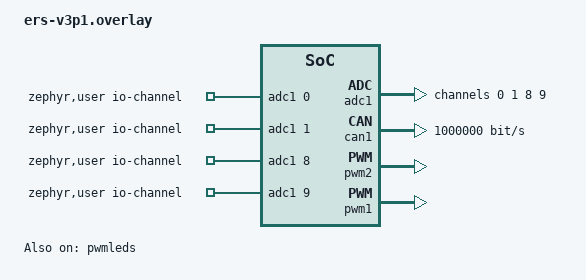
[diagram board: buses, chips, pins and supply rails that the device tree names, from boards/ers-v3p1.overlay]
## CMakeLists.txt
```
# Portland State Aerospace Society (c) 2025, 2026

cmake_minimum_required(VERSION 3.20.0)

# execute_process(
#     COMMAND git rev-parse --show-toplevel
#     OUTPUT_VARIABLE ERS_REPO_ROOT
#     OUTPUT_STRIP_TRAILING_WHITESPACE
#     COMMAND_ERROR_IS_FATAL ANY
# )

set(CONF_FILE prj.conf ers-log-levels.conf)

find_package(Zephyr REQUIRED HINTS $ENV{ZEPHYR_BASE})
project(ers_drogue_board)

target_include_directories(app PRIVATE
    include
    shell-module/include
)

target_sources(app PRIVATE
    src/adc.c
    src/arbiter.c
    src/can.c
    src/dac.c
    src/gpio-in.c
    src/keeper.c
    src/main.c
    src/motor-control.c
    src/pwm.c
    src/settings-ers.c
    src/shell-support.c
    src/status-led.c
)
```

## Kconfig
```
# Copyright (c) 2025 Portland State Aerospace Society

# ERS firmware thread stack sizes

config ADC_THREAD_STACK_SIZE
        int "ERS ADC thread stack size"
        default 512
        help
          Select stack size for ERS ADC thread

config ARBITER_THREAD_STACK_SIZE
        int "ERS arbiter thread stack size"
        default 512
        help
          Select stack size for ERS arbiter thread

config CAN_RX_THREAD_STACK_SIZE
        int "ERS CAN RX thread stack size"
        default 1536
        help
          Select stack size for ERS CAN RX thread

config GPIO_THREAD_STACK_SIZE
        int "ERS GPIO thread stack size"
        default 512
        help
          Select stack size for ERS GPIO thread

config PWM_THREAD_STACK_SIZE
        int "ERS PWM thread stack size"
        default 768
        help
          Select stack size for ERS GPIO thread

# ERS firmware thread priorities

config ADC_THREAD_PRIORITY
        int "ADC module thread priority"
        default 3
        help
          Priority of ERS thread to manage ADC channel readings.

config ARBITER_THREAD_PRIORITY
        int "ERS arbiter thread priority"
        default 5
        help
          Priority of ERS arbiter thread, which determines system readiness
          to unlock ring to release one of drogue and main parachutes.

config CAN_RX_THREAD_PRIORITY
        int "ERS CAN interface thread priority"
        default 2
        help
          Priority of CAN interface thread.

config GPIO_THREAD_PRIORITY
        int "ERS GPIO thread priority"
        default 4
        help
          Priority of thread which primarily reads I/O pins of the ERS board.

config PWM_THREAD_PRIORITY
        int "ERS PWM thread priority"
        default 6
        help
          Priority of thread to control PWM block, used to generate audible
	  tones.

# Module Zephyr logging support
module = ERS_SHELL_SUPPORT
module-str = ERS Zephyr based shell
source "subsys/logging/Kconfig.template.log_config"

# ERS module Kconfig files
rsource "Kconfig.adc"
rsource "Kconfig.arbiter"
rsource "Kconfig.can"
rsource "Kconfig.dac"
rsource "Kconfig.gpio-in"
rsource "Kconfig.keeper"
rsource "Kconfig.motor-control"
rsource "Kconfig.settings-ers"
rsource "Kconfig.status-led"
rsource "Kconfig.pwm"

# Following Kconfig inclusion needed to support Zephyr logging template macros,
# and needed for larger Zephyr code and framework support:
source "Kconfig.zephyr"
```

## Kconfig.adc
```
# @file
# @brief Application configuration for ERS analog-to-digital (ADC) module

menuconfig ERS_ADC_MODULE
	bool "ERS ADC module settings"
	default y
	help
	  Enable and configure ERS ADC module.  Enabled by default as it is
	  critical to correct, full system operation.

if ERS_ADC_MODULE

config ADC_API_TIMEOUT_MS
	int "ADC public API timeout in milliseconds"
	default 1500
	help
	  Set a timeout measured in milliseconds for the ERS Zephry ADC public
	  API.

config ADC_READ_PERIOD_MS
	int "Period between ADC channel readings."
	default 10
	help
	  Set the period or interval between ADC channel readings.  In the ERS
	  system, these readings include the measurements of lock ring Hall
	  sensors, which indicate the position of the lock ring.  The frequency
	  of these readings is important to support responsive ring position
	  detection.  This value may require tuning during code development and
	  system integration tests.

config ADC_PERIODIC_REPORTING
	bool "Enable periodic reporting of ADC channel readings."
	help
	  Enable periodic reporting of ADC channel readings.  Useful for
	  certain development time work."

endif # ERS_ADC_MODULE

module = ERS_ADC
module-str = ERS ADC module
source "subsys/logging/Kconfig.template.log_config"
```

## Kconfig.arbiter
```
# @file
# @brief ERS arbiter module config file.

menuconfig ERS_ARBITER
	bool "ERS arbiter module app settings"
	default y
	help
	  Enable ERS symbols to configure the arbiter module.

if ERS_ARBITER

config ARBITER_LOOP_SLEEP_PER_MS
	int "Arbiter loop default sleep period in milliseconds"
	default 100
	help
	  Select a sleep period in milliseconds for the recovery system arbiter
	  main loop.  Must be short enough to allow for timely lock ring
	  position determination.  Successful parachute release for recovery
	  depends on this timeliness.

config ARBITER_API_TIMEOUT_MS
	int "Arbiter default mutex timeout in milliseconds"
	default 1000
	help
	  Set the arbiter public API timeout, measured in milliseconds.

config OK_BATTERY_VOLTAGE_IN_TENTHS_OF_V
	int "Select ERS healthy, minimum battery voltage in tenths of a volt"
	default 90
	help
	  Select minimum ERS battery voltage to consider a healthy system
	  voltage, measured in tenths of a volt.

# Workaround for not being able to have commas or minus signs in macro arguments:
# (This pattern is borrowed from code in Zephyr 3.7.0 soc Kconfig files)
DT_NODE_ZEPHYR_USER := /zephyr,user
DT_DAC_RESOLUTION := dac-resolution

config ERS_V_RAIL_MICROVOLTS
	int "ERS board voltage supply rail"
	default 3300000
	help
	  Provide ERS microcontroller DAC a numerator which supports step
	  calculation results as integers, with three digit accuracy.  ERS
	  DAC step size formula is (3.3V / (1<<DAC_RESOLUTION_IN_BITS)).
	  To use units of microvolts puts the step size in the whole integer
	  realm.

config ERS_DAC_RES_IN_BITS
	int "BDS63150 motor driver IC current out scale numerator"
	default $(dt_node_int_prop_int,$(DT_NODE_ZEPHYR_USER),$(DT_DAC_RESOLUTION))
	help
	  Set the DAC resolution, measured in counts

endif # ERS_ARBITER

module = ERS_ARBITER
module-str = ERS arbiter module
source "subsys/logging/Kconfig.template.log_config"
```

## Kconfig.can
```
# @file
# @brief Application configuration for ERS CAN module

menuconfig ERS_CAN_MODULE
	bool "ERS CAN module app settings"
	default y
	help
	  Enable ERS config symbols for the application CAN module.

if ERS_CAN_MODULE

config LOOPBACK_MODE
	bool "Loopback LOOPBACK_MODE"
	default y
	help
	  Set the controller to loopback mode.
	  This allows testing without a second board.

config CAN_HEARTBEAT_PERIOD_S
	int "Set a period, at the end of which a CAN heartbeat message is sent."
	default 1
	help
	  Set a period, at the end of which a CAN heartbeat message is sent.
	  This applies to sender, drogue and main parachute board firmwares.

config CAN_BUS_HEALTH_CHECK_PERIOD_SEC
	int "Set period for CAN health heartbeat messages."
	default 2
	help
	  Set period by which ERS sender CAN heartbeat messages must be
	  detected for app to consider system CAN communiations in good
	  standing.

endif # ERS_CAN_MODULE

module = ERS_CAN
module-str = ERS firmware CAN module
source "subsys/logging/Kconfig.template.log_config"
```

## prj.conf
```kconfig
# PSAS Electromechanical Recovery System (ERS) firmware

# C library
CONFIG_NEWLIB_LIBC=y

# On chip peripherals
CONFIG_GPIO=y
CONFIG_ADC=y
CONFIG_DAC=y
CONFIG_PWM=y

CONFIG_CBPRINTF_FP_SUPPORT=y

CONFIG_MAIN_STACK_SIZE=2048

# ERS application threads
CONFIG_CAN_RX_THREAD_PRIORITY=2
CONFIG_ADC_THREAD_PRIORITY=3
CONFIG_GPIO_THREAD_PRIORITY=4
CONFIG_ARBITER_THREAD_PRIORITY=5
CONFIG_PWM_THREAD_PRIORITY=6

CONFIG_ADC_THREAD_STACK_SIZE=512
CONFIG_ARBITER_THREAD_STACK_SIZE=1024
CONFIG_CAN_RX_THREAD_STACK_SIZE=1536
CONFIG_GPIO_THREAD_STACK_SIZE=512
CONFIG_PWM_THREAD_STACK_SIZE=512

# CAN bus related
CONFIG_POLL=y
CONFIG_CAN=y
CONFIG_CAN_FD_MODE=y
CONFIG_CAN_INIT_PRIORITY=80
CONFIG_CAN_MAX_FILTER=5

CONFIG_SHELL=y
CONFIG_CAN_SHELL=y
CONFIG_DEVICE_SHELL=y
CONFIG_SHELL_CMDS=n
CONFIG_DEVMEM_SHELL=n

CONFIG_STATS=y
CONFIG_STATS_NAMES=y
CONFIG_STATS_SHELL=y
CONFIG_CAN_STATS=y

CONFIG_LOOPBACK_MODE=n

# In support of Zephyr settings submodule (credit Pete S.):
CONFIG_NVS=y
CONFIG_SETTINGS_NVS=y
CONFIG_MPU_ALLOW_FLASH_WRITE=y

# Zephyr settings submodule, for persistent data storage
CONFIG_SETTINGS=y
CONFIG_SETTINGS_RUNTIME=y

CONFIG_FLASH=y
CONFIG_FLASH_MAP=y
CONFIG_FCB=y
CONFIG_SETTINGS_FCB=y

# Zephyr thread introspection
CONFIG_THREAD_ANALYZER=y
CONFIG_THREAD_NAME=y

# ERS arbiter modules
CONFIG_ARBITER_LOOP_SLEEP_PER_MS=100
CONFIG_ADC_API_TIMEOUT_MS=1200
```

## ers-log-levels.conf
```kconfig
CONFIG_LOG=y
CONFIG_LOG_BACKEND_UART=y

## Log Default Level
#    0 -> LOG_LEVEL_OFF
#    1 -> LOG_LEVEL_ERR
#    2 -> LOG_LEVEL_WRN
#    3 -> LOG_LEVEL_INF
#    4 -> LOG_LEVEL_DBG
# CONFIG_LOG_DEFAULT_LEVEL=3

CONFIG_ADC_LOG_LEVEL_INF=y
CONFIG_ERS_ARBITER_LOG_LEVEL_ERR=y
CONFIG_ERS_CAN_LOG_LEVEL_INF=y
CONFIG_ERS_DAC_LOG_LEVEL_ERR=y
CONFIG_ERS_GPIO_LOG_LEVEL_INF=y
CONFIG_ERS_KEEPER_LOG_LEVEL_ERR=y
CONFIG_MOTOR_CONTROL_LOG_LEVEL_INF=y
CONFIG_ERS_PWM_LOG_LEVEL_ERR=y
CONFIG_ERS_SETTINGS_LOG_LEVEL_INF=y
CONFIG_STATUS_LED_LOG_LEVEL_INF=y
```

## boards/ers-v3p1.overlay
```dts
/**
 * PSAS ERS board firmware
 */

&gpioa {
        status = "okay";
};

&gpiob {
        status = "okay";
};

/ {
        zephyr,user {
                /* adjust channel number according to pinmux in board.dts */
                io-channels = <&adc1 0>, <&adc1 1>, <&adc1 8>, <&adc1 9>; 
        };
};

&adc1 {
        #address-cells = <1>;
        #size-cells = <0>;

        channel@0 {
                reg = <0>;
                zephyr,gain = "ADC_GAIN_1";
                zephyr,reference = "ADC_REF_INTERNAL";
                zephyr,acquisition-time = <ADC_ACQ_TIME_DEFAULT>;
                zephyr,resolution = <12>;
        };

        channel@1 {
                reg = <1>;
                zephyr,gain = "ADC_GAIN_1";
                zephyr,reference = "ADC_REF_INTERNAL";
                zephyr,acquisition-time = <ADC_ACQ_TIME_DEFAULT>;
                zephyr,resolution = <12>;
        };

        channel@8 {
                reg = <8>;
                zephyr,gain = "ADC_GAIN_1";
                zephyr,reference = "ADC_REF_INTERNAL";
                zephyr,acquisition-time = <ADC_ACQ_TIME_DEFAULT>;
                zephyr,resolution = <12>;
        };

        channel@9 {
                reg = <9>;
                zephyr,gain = "ADC_GAIN_1";
                zephyr,reference = "ADC_REF_INTERNAL";
                zephyr,acquisition-time = <ADC_ACQ_TIME_DEFAULT>;
                zephyr,resolution = <12>;
        };
};

// CAN transceiver related

&can1 {
        status = "okay";
	bitrate = <1000000>;
};

// digital-to-analog conversion (DAC) related

/ {
        zephyr,user {
                dac = <&dac1>;
                dac-channel-id = <1>;
                dac-resolution = <12>;
        };
};

&pwmleds {
        status = "okay";
};

&pwm2 {
        status = "okay";
};

&pwm1 {
        status = "okay";
};
```

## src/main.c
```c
/*
 * @file
 * @brief ERS Zephyr application level "entry" file, main.c.
 */

#include "adc-ers.h"
#include "arbiter.h"
#include "can-ers.h"
#include "dac-ers.h"
#include "pwm-ers.h"
#include "gpio-in.h"
#include "keeper.h"
#include "motor-control.h"
#include "settings-ers.h"
#include "status-led.h"

#include <zephyr/kernel.h>
#include <zephyr/logging/log.h>

#include <stdio.h>

LOG_MODULE_REGISTER(ers_main, LOG_LEVEL_INF);

//----------------------------------------------------------------------
// - SECTION - routines
//----------------------------------------------------------------------

int main(void)
{
	int32_t rc = 0;

	// Setting up GPIOs is one of the first things to do for hardware safety:
	rc = gpio_in_init();
	LOG_INF("GPIO input pin initialization returns %d", rc);

	// Start the settings module;  it is needed by the motor control module
	// which we want to run early as possible, also for safe hardware
	// operation:
	settings_ers_init();
	LOG_INF("just back from ERS settings module init");
	k_msleep(300);

	// ERS keeper module is used by motor and several other modules, initialize
	// this module before those who use it:
	rc = keeper_init();
	LOG_INF("ERS data \"keeper\" initialization returns %d", rc);

	// The motor module puts the H-brdige in a "motor off" state, so call this
	// module as early as possible:
	rc = ers_init_motor_ctrl();
	LOG_INF("motor control module init returns %d", rc);

	rc = adc_init();
	LOG_INF("ADC init code returns %d", rc);

	rc = dac_init();
	LOG_INF("DAC init code returns %d", rc);

	rc = ers_can_init();
	LOG_INF("ERS CAN module init returns %d", rc);

	rc = arbiter_init();
	LOG_INF("ERS arbitration module init returns %d", rc);

	rc = pwm_init();
	LOG_INF("ERS PWM module init returns %d", rc);

	rc = status_led_init();
	LOG_INF("routine to configure led0 returns %d", rc);

	rc = keeper_retrieve_hall_1_limits();
	if (rc != 0) {
		LOG_ERR("Failed to retrieve Hall sensor 1 cut-off values, err = %d", rc);
	} else {
		LOG_INF("Hall sensor 1 cut-off values retrieved");
	}

	rc = keeper_retrieve_hall_2_limits();
	if (rc != 0) {
		LOG_ERR("Failed to retrieve Hall sensor 2 cut-off values, err = %d", rc);
	} else {
		LOG_INF("Hall sensor 2 cut-off values retrieved");
	}

	// Play start up, or 'banner' audio pattern:
	rc = pwm_play_pattern(PWM_APP_15_NOTES);
	if (rc != 0) {
		LOG_ERR("Failed to play 15-note audio pattern, err = %d", rc);
	}

	return 0;
}
```

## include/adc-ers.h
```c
#ifndef ERS_ADC_H
#define ERS_ADC_H

#include <keeper.h>

/**
 * @brief Initialize the ADC channel reading module.
 *
 * @retval 0 on success.
 * @retval -ENODEV when an ADC channel is reported as not ready.
 * @retval -EINVAL when there's a failure to set up a ready channel.
 * @retval -EFAULT when the ADC thread fails to start.
 */

int32_t adc_init(void);

/**
 * @brief Read a range of the ADC channels, possibly as few as one channel.
 *
 * @note To read a single channel, begin and end indices should be set equal to
 *  one another.
 *
 * @param idx_begin beginning ADC channel index
 * @param idx_end ending ADC channel index
 *
 * @retval zero on success
 * @return negative errno per Zephyr mutex and analog-to-digital APIs.
 */

int32_t adc_read_channels(const enum ers_adc_values idx_begin, const enum ers_adc_values idx_end);

/**
 * @brief Trampoline function to read analog signal of Hall sensor 1 of 2, and
 *  convert this to a reading in millivolts.
 *
 * @param Pointer to a Zephyr shell context.
 */

int32_t cmd_ers_read_adc_in0(const struct shell *shell);

/**
 * @brief Trampoline function to read analog signal of Hall sensor 2 of 2, and
 *  convert this to a reading in millivolts.
 *
 * @param Pointer to a Zephyr shell context.
 */

int32_t cmd_ers_read_adc_in1(const struct shell *shell);

#endif // ERS_ADC_H
```

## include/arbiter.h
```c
#ifndef ERS_ARBITER_H
#define ERS_ARBITER_H

#include "hall-and-ring.h"

#include <zephyr/shell/shell.h>

/**
 * @brief ERS arbiter initialization routine.
 *
 * @retval 0 on success.
 * @retval -EFAULT on failure to start arbiter thread.
 * @warning This routine must be called to make arbiter module ready for use.
 */

int32_t arbiter_init(void);

/**
 * @brief Parse string-wise Hall sensor abbreviation and return a numeric
 *  reference to it, based on an enum of Hall sensors in the ERS system.
 *
 * @param sensor_name is the string-wise abbreviation "s1" or "s2", refers to
 *   one of Hall sensor 1 and Hall sensor 2.
 * @param sensor_idx is a pointer to a caller variable, meant to hold an
 *   effective index to the Hall sensor on which to act.
 *
 * @retval 0 on success
 * @retval -EINVAL if sensor abbreviation not one of "s1" and "s2".
 */

int32_t determine_which_sensor(const char *sensor_name, enum hall_sensor_instances *sensor_idx);

/**
 * @brief Calculate maximum motor current, based on DAC output setting value.
 *
 * @retval 0 on success.
 * @retval -EFAULT on API mutex timeout.
 */

int32_t arbiter_calc_max_motor_drive_current(void);

enum lock_ring_position {
	RING_POS_LOCKED,
	RING_POS_BETWEEN_L_AND_U,
	RING_POS_UNLOCKED,
	RING_POS_LOCKED_FULLY_QUALIFIED,
	RING_POS_BETWEEN_FULLY_QUALIFIED,
	RING_POS_UNLOCKED_FULLY_QUALIFIED,
	RING_POS_UNKNOWN
};

/**
 * @note Ring state is a simplified version of lock_ring_position, and is
 *   sent in the given ERS board's CAN heartbeat / status message.
 */

enum lock_ring_state {
	RING_STATE_UNKNOWN,
	RING_STATE_UNLOCKED,
	RING_STATE_BETWEEN,
	RING_STATE_LOCKED,
	RING_STATE_ERROR
};

/**
 * @brief Assign Hall sensor default limit values to app run-time variables.
 * @note These values may become inaccurate when the physical, ERS lock
 *  ring assembly is handled.  Small changes in the position of the Hall
 *  sensors and an associated permanent magnet with each sensor lead to
 *  notable changes in Hall readings, which correspond to ring states.
 *
 * @note The three parameters of this API are standard to Zephyr shell
 *  commands.
 *
 * @param shell Pointer to Zephyr shell construct instance in the app.
 * @param argc Count of input tokens, separated by white space.
 * @param argv array of pointers to input tokens.
 */

void arbiter_cmd_set_default_limits(const struct shell *shell, size_t argc, char **argv);

/**
 * @brief Show present Hall sensor limit values, measured empirically and
 *  used to sense lock ring position.
 *
 * @note The three parameters of this API are standard to Zephyr shell
 *  commands.
 */

void arbiter_show_hall_state_limits(const struct shell *shell);

/**
 * @brief Calculate system battery voltage from latest ADC reading.
 *
 * @note Calcuates battery voltage in both millivolts and tenths of a volt.
 *
 * @retval 0 on success.
 * @retval -EAGAIN when mutex lock request times out.
 */

int32_t arbiter_calc_battery_voltage(void);

/**
 * @brief Determine lock ring postion, and state.  Return ring position.
 *
 * @param pointer to caller variable to hold lock ring position.
 *
 * @retval 0 on success, ring position in variable pointed to by ring_position.
 * @retval -EAGAIN when mutex lock request times out.
 * @return negative errno from one of ADC read API, reading-to-hall convert
 *   API, and motor module, on a given error.
 */

int32_t arbiter_determine_ring_state(enum lock_ring_position *ring_position);

/**
 * @brief Convert an enum value for lock ring position to a string.
 *
 * @param pos An integer value representing lock ring physical position.
 *
 * @return A string-wise name for the physical ring position.  Possible strings
 *  include a string to indicate when position is unknown.
 */

char *arbiter_ring_pos_to_str(const enum lock_ring_position pos);

#endif // ERS_ARBITER_H
```

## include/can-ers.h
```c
#ifndef ERS_CAN_INIT
#define ERS_CAN_INIT

/**
 * @brief Initialize ERS Zephyr CAN module
 *
 * @retval 0 on success.
 * @retval -ENODEV when physical CAN bus is reported not ready.
 * @retval -EAGAIN when CAN bus fails to start.
 * @retval -ESRCH when module fails to create thread for CAN message handling.
 */

int32_t ers_can_init(void);

#endif // ERS_CAN_INIT
```

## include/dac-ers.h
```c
#ifndef ERS_DAC_H
#define ERS_DAC_H

/**
 * @brief Initialize ERS analog to digital module.
 * @retval 0 on success.
 * @retval -ENODEV when device reported as not ready.
 * @retval -EIO when configuration of DAC channel fails.
 */
int32_t dac_init(void);

/**
 * @brief Routine to write DAC output register, to set and to possibly change
 *  the digital-to-analog converter's output.
 * @param value Positive integer value representing DAC output.
 * @retval 0 on success.
 * @retval -ENODEV when DAC device not initialized.
 * @retval -EINVAL when DAC output outside valid integral range.
 * @return negative errno as produced by dac_write_value().
 */
int32_t dac_write_output_reg(const uint32_t value);

/**
 * @brief Return value of setting for DAC output.
 * @param value Caller's variable in which to store DAC output setting.
 * @retval 0 on success.
 * @retval -EINVAL when module not initialized.
 */
int32_t dac_present_value(uint32_t *dac_setting);

/**
 * @brief Return value of setting for DAC output.
 * @param value Caller's variable in which to store DAC output setting.
 * @retval 0 on success.
 * @retval -EINVAL when module not initialized.
 */
int32_t dac_range(int32_t *bound_low, int32_t *bound_high);

#endif // ERS_DAC_H
```

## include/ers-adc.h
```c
#ifndef ERS_ADC_H
#define ERS_ADC_H

#include <keeper.h>

int32_t adc_init(void);

int32_t adc_read_channels(const enum ers_adc_values idx_begin, const enum ers_adc_values idx_end);

int32_t cmd_ers_read_adc_in0(const struct shell *shell);

int32_t cmd_ers_read_adc_in1(const struct shell *shell);

#endif // ERS_ADC_H
```

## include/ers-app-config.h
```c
#ifndef ERS_APP_CONFIG_H
#define ERS_APP_CONFIG_H

// NOTE: important to define only one of following Electromechanical Recovery
//  System (ERS) firmware variants.

#undef ERS_BOARD_VARIANT_SENDER

#undef ERS_BOARD_VARIANT_DROGUE_CHUTE

#define ERS_BOARD_VARIANT_MAIN_CHUTE

#endif
```

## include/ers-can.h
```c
#ifndef ERS_CAN_INIT
#define ERS_CAN_INIT

/**
 * @brief Initialize ERS Zephyr CAN module
 *
 * @retval -ENODEV when physical CAN bus is reported not ready.
 * @retval -EAGAIN when CAN bus fails to start.
 * @retval -ESRCH when module fails to create thread for CAN message handling.
 */

int32_t ers_can_init(void);

#endif // ERS_CAN_INIT
```

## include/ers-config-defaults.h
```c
#ifndef ERS_CONFIG_DEFAULTS
#define ERS_CONFIG_DEFAULTS

/**
 * @brief Header file to capture ERS default board configuration and firmware
 *  settings.
 */

/**
 * @note Following tables shows Hall sensor states in left-most column and in
 *  top-most row.  States are determined by comparing Hall sensor readings
 *  (measured in ADC counts) against empirically determined limits.
 */

/*
        Hall2 |
 Hall1        |   Over     Active    Between   Inactive    Under
--------------+------------------------------------------------------
Over          |   error    locked    betwen    unlocked    error
Active        |  unlocked   error    between   UNLOCKED   unlocked
Between       |   between  between   BETWEEN    between    between
Unactive      |   locked    LOCKED   between     error     locked
Under         |   error     locked   between   unlocked     error
*/

/**
 * (C1) Hall sensor default limit values
 */

#define HALL_AND_SENSORS_DEFAULT_LIMIT_VALUES \
HALL_SENSOR_INST(1, 750, 920, 1600, 3100) \
HALL_SENSOR_INST(2, 800, 950, 2600, 3100)

/**
 * (C2) Hall sensor instance enumeration
 */

#define HALL_SENSOR_INST(sensor_idx, limit1, limit2, limit3, limit4) HALL_SENSOR_##sensor_idx,
enum hall_sensor_instances {
HALL_AND_SENSORS_DEFAULT_LIMIT_VALUES
HALL_SENSOR_COUNT
};
#undef HALL_SENSOR_INST

/**
 * (C3) Hall sensor state names
 */

#define  LIMIT_NAME_1  HALL_LIMIT_V_UNDER
#define  LIMIT_NAME_2  HALL_LIMIT_V_INACTIVE
#define  LIMIT_NAME_3  HALL_LIMIT_V_BETWEEN
#define  LIMIT_NAME_4  HALL_LIMIT_V_ACTIVE

#define  LIMIT_VAR_1  hall_limit_v_under
#define  LIMIT_VAR_2  hall_limit_v_inactive
#define  LIMIT_VAR_3  hall_limit_v_between
#define  LIMIT_VAR_4  hall_limit_v_active

#define  STATE_NAME_1  HALL_STATE_V_UNDER
#define  STATE_NAME_2  HALL_STATE_V_INACTIVE
#define  STATE_NAME_3  HALL_STATE_V_BETWEEN
#define  STATE_NAME_4  HALL_STATE_V_ACTIVE
#define  STATE_NAME_5  HALL_STATE_V_OVER
#define  STATE_NAME_6  HALL_STATE_UNKNOWN

/**
 * (C4) Enumeration of Hall sensor limits (named identifiers):
 */

enum hall_sensor_named_limits {
LIMIT_NAME_1,
LIMIT_NAME_2,
LIMIT_NAME_3,
LIMIT_NAME_4,
HALL_SENSOR_LIMIT_COUNT
};

#define CONCAT_A_B_C(prefix, infix, name) prefix ## infix ## name
#define INTERMEDIATE_A_B_C(prefix, infix, name) CONCAT_A_B_C(prefix, infix, name)

#define LIMIT_NAME(prefix, infix, name) CONCAT_A_B_C(prefix, infix, name)

#define HALL_SENSOR_INST(idx, limit1, limit2, limit3, limit4) \
HALL_SENSOR_CONSTRUCT(LIMIT_NAME(LIMIT_NAME_1, _S, idx), LIMIT_NAME(LIMIT_VAR_1, _S, idx), limit1) \
HALL_SENSOR_CONSTRUCT(LIMIT_NAME(LIMIT_NAME_2, _S, idx), LIMIT_NAME(LIMIT_VAR_2, _S, idx), limit2) \
HALL_SENSOR_CONSTRUCT(LIMIT_NAME(LIMIT_NAME_3, _S, idx), LIMIT_NAME(LIMIT_VAR_3, _S, idx), limit3) \
HALL_SENSOR_CONSTRUCT(LIMIT_NAME(LIMIT_NAME_4, _S, idx), LIMIT_NAME(LIMIT_VAR_4, _S, idx), limit4)

/**
 * (C5) Hall sensor limit variable names
 */

#define HALL_SENSOR_CONSTRUCT(limit_name, limit_var_name, limit_value) \
	limit_name = limit_value,
enum hall_sensor_limit_defaults {
	HALL_AND_SENSORS_DEFAULT_LIMIT_VALUES
};
#undef HALL_SENSOR_CONSTRUCT

/**
 * (C6) Hall sensor named states
 */

enum hall_sensor_state_ids {
STATE_NAME_1,
STATE_NAME_2,
STATE_NAME_3,
STATE_NAME_4,
STATE_NAME_5,
STATE_NAME_6,
};

#undef HALL_SENSOR_CONSTRUCT

#define BASE_10 10

#endif // ERS_CONFIG_DEFAULTS
```

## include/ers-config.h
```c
#ifndef ERS_CONFIG_DEFAULTS
#define ERS_CONFIG_DEFAULTS

/**
 * @brief Header file to capture ERS default board configuration and firmware
 *  settings.
 */

/**
 * @note Following tables shows Hall sensor states in left-most column and in
 *  top-most row.  States are determined by comparing Hall sensor readings
 *  (measured in ADC counts) against empirically determined limits.
 */

/*
        Hall2 |
 Hall1        |   Over     Active    Between   Inactive    Under
--------------+------------------------------------------------------
Over          |   error    locked    betwen    unlocked    error
Active        |  unlocked   error    between   UNLOCKED   unlocked
Between       |   between  between   BETWEEN    between    between
Unactive      |   locked    LOCKED   between     error     locked
Under         |   error     locked   between   unlocked     error
*/

/**
 * (C1) Hall sensor default limit values
 */

#define HALL_AND_SENSORS_DEFAULT_LIMIT_VALUES \
HALL_SENSOR_INST(1, 750, 920, 1600, 3100) \
HALL_SENSOR_INST(2, 800, 950, 2600, 3100)

/**
 * (C2) Hall sensor instance enumeration
 */

#define HALL_SENSOR_INST(sensor_idx, limit1, limit2, limit3, limit4) HALL_SENSOR_##sensor_idx,
enum hall_sensor_instances {
HALL_AND_SENSORS_DEFAULT_LIMIT_VALUES
HALL_SENSOR_COUNT
};
#undef HALL_SENSOR_INST

/**
 * (C3) Hall sensor state names
 */

#define  LIMIT_NAME_1  HALL_LIMIT_V_UNDER
#define  LIMIT_NAME_2  HALL_LIMIT_V_INACTIVE
#define  LIMIT_NAME_3  HALL_LIMIT_V_BETWEEN
#define  LIMIT_NAME_4  HALL_LIMIT_V_ACTIVE

#define  LIMIT_VARNAME_1  hall_limit_v_under
#define  LIMIT_VARNAME_2  hall_limit_v_inactive
#define  LIMIT_VARNAME_3  hall_limit_v_between
#define  LIMIT_VARNAME_4  hall_limit_v_active

#define SETTING_KEYNAME_PREFIX setting_
#define SETTING_KEYNAME_HLIMIT_1 SETTING_KEYNAME_PREFIX##LIMIT_VARNAME_1
#if 1
#define SETTING_KEYNAME_HLIMIT_2 SETTING_KEYNAME_PREFIX ## LIMIT_VARNAME_2
#define SETTING_KEYNAME_HLIMIT_3 SETTING_KEYNAME_PREFIX ## LIMIT_VARNAME_3
#define SETTING_KEYNAME_HLIMIT_4 SETTING_KEYNAME_PREFIX ## LIMIT_VARNAME_4
#endif

#define SETTING_KEYNAME_S2_HL1 STRINGIFY(SETTING_KEYNAME_PREFIX) "s2" "_" STRINGIFY(LIMIT_VARNAME_1)

#define  STATE_NAME_1  HALL_STATE_V_UNDER
#define  STATE_NAME_2  HALL_STATE_V_INACTIVE
#define  STATE_NAME_3  HALL_STATE_V_BETWEEN
#define  STATE_NAME_4  HALL_STATE_V_ACTIVE
#define  STATE_NAME_5  HALL_STATE_V_OVER
#define  STATE_NAME_6  HALL_STATE_UNKNOWN

/**
 * (C4) Enumeration of Hall sensor limits (named identifiers):
 */

enum hall_sensor_named_limits {
LIMIT_NAME_1,
LIMIT_NAME_2,
LIMIT_NAME_3,
LIMIT_NAME_4,
HALL_SENSOR_LIMIT_COUNT
};

#define CONCAT_A_B_C(prefix, infix, name) prefix ## infix ## name
#define INTERMEDIATE_A_B_C(prefix, infix, name) CONCAT_A_B_C(prefix, infix, name)

#define LIMIT_NAME(prefix, infix, name) CONCAT_A_B_C(prefix, infix, name)

#define HALL_SENSOR_INST(idx, limit1, limit2, limit3, limit4) \
HALL_SENSOR_CONSTRUCT(LIMIT_NAME(LIMIT_NAME_1, _S, idx), LIMIT_NAME(LIMIT_VARNAME_1, _S, idx), limit1) \
HALL_SENSOR_CONSTRUCT(LIMIT_NAME(LIMIT_NAME_2, _S, idx), LIMIT_NAME(LIMIT_VARNAME_2, _S, idx), limit2) \
HALL_SENSOR_CONSTRUCT(LIMIT_NAME(LIMIT_NAME_3, _S, idx), LIMIT_NAME(LIMIT_VARNAME_3, _S, idx), limit3) \
HALL_SENSOR_CONSTRUCT(LIMIT_NAME(LIMIT_NAME_4, _S, idx), LIMIT_NAME(LIMIT_VARNAME_4, _S, idx), limit4)

/**
 * (C5) Hall sensor limit variable names
 */

#define HALL_SENSOR_CONSTRUCT(limit_name, limit_var_name, limit_value) \
	limit_name = limit_value,
enum hall_sensor_limit_defaults {
	HALL_AND_SENSORS_DEFAULT_LIMIT_VALUES
};
#undef HALL_SENSOR_CONSTRUCT

/**
 * (C6) Hall sensor named states
 */

enum hall_sensor_state_ids {
STATE_NAME_1,
STATE_NAME_2,
STATE_NAME_3,
STATE_NAME_4,
STATE_NAME_5,
STATE_NAME_6,
};

#undef HALL_SENSOR_CONSTRUCT

#define BASE_10 10

#endif // ERS_CONFIG_DEFAULTS
```

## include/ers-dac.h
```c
#ifndef ERS_DAC_H
#define ERS_DAC_H

int32_t dac_init(void);

/**
 * @brief Routine to write DAC output register, to set and to possibly change
 *  the digital-to-analog converter's output.
 * @param value Positive integer value representing DAC output.
 * @retval 0 on success.
 * @retval -ENODEV when DAC device not initialized.
 * @retval -EINVAL when DAC output outside valid integral range.
 * @return negative errno as produced by dac_write_value().
 */
int32_t dac_write_output_reg(const uint32_t value);

/**
 * @brief Return value of setting for DAC output.
 * @param value Caller's variable in which to store DAC output setting.
 * @retval 0 on success.
 * @retval -EINVAL when module not initialized.
 */
int32_t dac_present_value(uint32_t *dac_setting);

/**
 * @brief Return value of setting for DAC output.
 * @param value Caller's variable in which to store DAC output setting.
 * @retval 0 on success.
 * @retval -EINVAL when module not initialized.
 */
int32_t dac_range(int32_t *bound_low, int32_t *bound_high);

#endif // ERS_DAC_H
```

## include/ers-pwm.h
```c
#ifndef ERS_PWM_H
#define ERS_PWM_H

int pwm_init(void);

int32_t pwm_play_melody(void);

#endif // ERS_PWM_H
```

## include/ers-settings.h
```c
#ifndef ERS_SETTINGS_H
#define ERS_SETTINGS_H

void ers_settings_init(void);

#endif // ERS_SETTINGS_H
```
